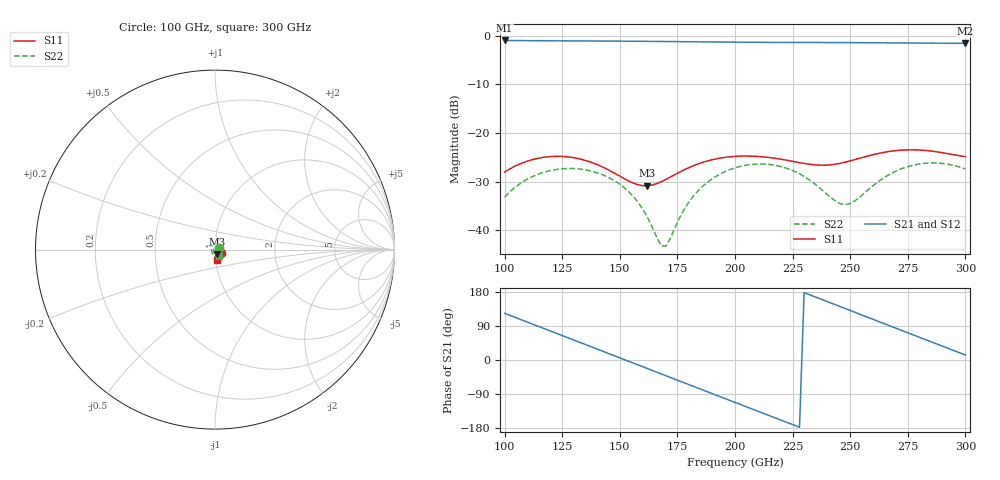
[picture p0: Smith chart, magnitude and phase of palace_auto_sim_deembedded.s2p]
! Created with skrf 1.11.0 (http://scikit-rf.org).
# GHz S DB R 50.0
!freq dBS11 angS11 dBS21 angS21 dBS12 angS12 dBS22 angS22
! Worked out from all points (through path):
!   101 points, 100 GHz to 300 GHz, reference 50 ohm
!   highest |S21| = -0.93 dB at 100 GHz (marker M1); lowest = -1.5 dB at 300 GHz (marker M2)
!   group delay of S21, straight-line fit = 6.53 ps
!   lowest |S11| = -30.9 dB at 162 GHz (marker M3), VSWR 1.06, Z = 51.1 - j2.69 ohm
!   |S11| at or under -10 dB: start of sweep to end of sweep
!   |S22| runs from -43.3 to -26.2 dB; largest |S21 - S12| = 1e-13
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100  -28.03 -25.9  -0.93 123.2  -0.93 123.2  -33.17 26.7
108  -26.10 -36.3  -0.96 104.4  -0.96 104.4  -30.01 15.0
116  -25.06 -48.7  -0.99 85.7  -0.99 85.7  -28.23 0.4
124  -24.79 -61.5  -1.01 66.9  -1.01 66.9  -27.40 -15.6
134  -25.49 -75.8  -1.03 43.4  -1.03 43.4  -27.49 -36.9
148  -28.34 -85.7  -1.07 10.4  -1.07 10.4  -29.90 -70.0
156  -30.33 -78.7  -1.10 -8.4  -1.10 -8.4  -33.13 -93.2
162  -30.85 -66.5  -1.12 -22.6  -1.12 -22.6  -37.34 -118.4
168  -30.01 -55.2  -1.14 -36.7  -1.14 -36.7  -43.19 -176.9
170  -29.54 -52.8  -1.15 -41.4  -1.15 -41.4  -43.29 149.9
178  -27.56 -49.8  -1.18 -60.3  -1.18 -60.3  -35.65 78.3
184  -26.35 -52.2  -1.21 -74.4  -1.21 -74.4  -31.87 55.4
192  -25.29 -58.1  -1.25 -93.2  -1.25 -93.2  -28.85 31.4
200  -24.80 -64.8  -1.28 -111.9  -1.28 -111.9  -27.16 9.2
218  -25.24 -76.5  -1.33 -154.0  -1.33 -154.0  -26.69 -42.4
234  -26.52 -74.9  -1.35 168.4  -1.35 168.4  -30.24 -100.1
248  -25.97 -65.1  -1.37 135.4  -1.37 135.4  -34.73 166.6
258  -24.68 -64.1  -1.40 111.8  -1.40 111.8  -31.59 94.8
268  -23.72 -68.7  -1.43 88.3  -1.43 88.3  -28.26 51.0
282  -23.56 -77.5  -1.48 55.4  -1.48 55.4  -26.25 3.2
292  -24.21 -80.8  -1.50 31.9  -1.50 31.9  -26.38 -29.6
300  -24.86 -79.4  -1.53 13.1  -1.53 13.1  -27.39 -57.8
